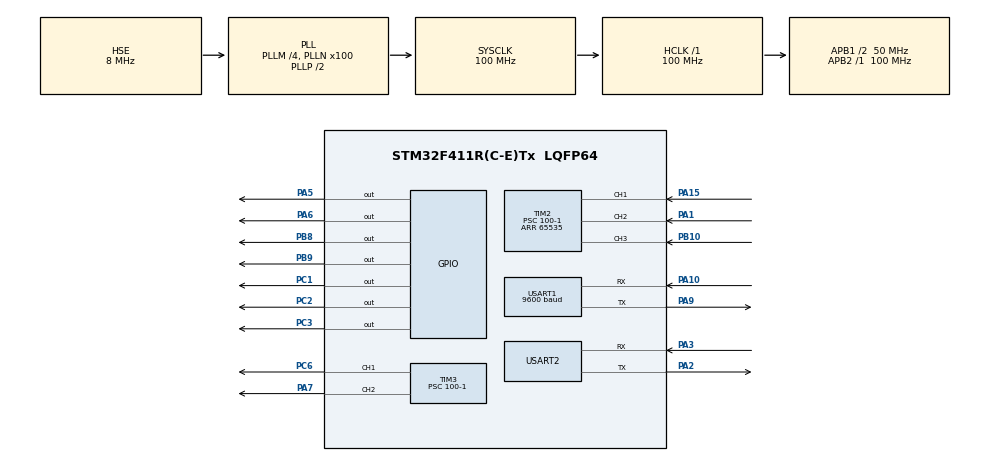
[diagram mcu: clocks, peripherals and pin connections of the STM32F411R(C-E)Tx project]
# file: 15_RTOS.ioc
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FREERTOS.Queues01=xUltrasonicQueue,16,uint16_t,0,Dynamic,NULL,NULL
FREERTOS.Tasks01=LED_TASK_1,24,128,LED_TASK_01,Default,NULL,Dynamic,NULL,NULL;ultrasonicTask,24,128,UltrasonicTask,Default,NULL,Dynamic,NULL,NULL;mainMoveTask,40,128,MainMoveTask,Default,NULL,Dynamic,NULL,NULL;controlTask,41,128,ControlTask,Default,NULL,Dynamic,NULL,NULL
FREERTOS.configUSE_NEWLIB_REENTRANT=1
Mcu.Family=STM32F4
Mcu.Name=STM32F411R(C-E)Tx
Mcu.Package=LQFP64
NVIC.PriorityGroup=NVIC_PRIORITYGROUP_4
NVIC.TIM1_UP_TIM10_IRQn=true\:15\:0\:false\:false\:true\:false\:false\:true\:true
NVIC.TIM2_IRQn=true\:5\:0\:false\:false\:true\:true\:true\:true\:true
NVIC.TimeBase=TIM1_UP_TIM10_IRQn
NVIC.TimeBaseIP=TIM10
NVIC.USART1_IRQn=true\:5\:0\:false\:false\:true\:true\:true\:true\:true
NVIC.USART2_IRQn=true\:5\:0\:false\:false\:true\:true\:true\:true\:true
PA1.Signal=S_TIM2_CH2
PA10.Mode=Asynchronous
PA10.Signal=USART1_RX
PA13.Mode=Serial_Wire
PA13.Signal=SYS_JTMS-SWDIO
PA14.Mode=Serial_Wire
PA14.Signal=SYS_JTCK-SWCLK
PA15.Signal=S_TIM2_CH1_ETR
PA2.Mode=Asynchronous
PA2.Signal=USART2_TX
PA3.Mode=Asynchronous
PA3.Signal=USART2_RX
PA5.Signal=GPIO_Output
PA6.Signal=GPIO_Output
PA7.Signal=S_TIM3_CH2
PA9.Mode=Asynchronous
PA9.Signal=USART1_TX
PB10.Signal=S_TIM2_CH3
PB8.Signal=GPIO_Output
PB9.Signal=GPIO_Output
PC1.Signal=GPIO_Output
PC2.Signal=GPIO_Output
PC3.Signal=GPIO_Output
PC6.Signal=S_TIM3_CH1
PH0\ -\ OSC_IN.Mode=HSE-External-Oscillator
PH0\ -\ OSC_IN.Signal=RCC_OSC_IN
PH1\ -\ OSC_OUT.Mode=HSE-External-Oscillator
PH1\ -\ OSC_OUT.Signal=RCC_OSC_OUT
ProjectManager.HeapSize=0x200
ProjectManager.StackSize=0x400
ProjectManager.TargetToolchain=STM32CubeIDE
RCC.48MHZClocksFreq_Value=50000000
RCC.AHBFreq_Value=100000000
RCC.APB1CLKDivider=RCC_HCLK_DIV2
RCC.APB1Freq_Value=50000000
RCC.APB1TimFreq_Value=100000000
RCC.APB2Freq_Value=100000000
RCC.APB2TimFreq_Value=100000000
RCC.CortexFreq_Value=100000000
RCC.HCLKFreq_Value=100000000
RCC.HSE_VALUE=8000000
RCC.HSI_VALUE=16000000
RCC.LSE_VALUE=32768
RCC.PLLM=4
RCC.PLLN=100
RCC.PLLSourceVirtual=RCC_PLLSOURCE_HSE
RCC.SYSCLKFreq_VALUE=100000000
RCC.SYSCLKSource=RCC_SYSCLKSOURCE_PLLCLK
RCC.VCOOutputFreq_Value=200000000
SH.S_TIM2_CH1_ETR.0=TIM2_CH1,Input_Capture1_from_TI1
SH.S_TIM2_CH2.0=TIM2_CH2,Input_Capture2_from_TI2
SH.S_TIM2_CH3.0=TIM2_CH3,Input_Capture3_from_TI3
SH.S_TIM3_CH1.0=TIM3_CH1,PWM Generation1 CH1
SH.S_TIM3_CH2.0=TIM3_CH2,PWM Generation2 CH2
TIM2.Channel-Input_Capture1_from_TI1=TIM_CHANNEL_1
TIM2.Channel-Input_Capture2_from_TI2=TIM_CHANNEL_2
TIM2.Channel-Input_Capture3_from_TI3=TIM_CHANNEL_3
TIM2.Period=65535
TIM2.Prescaler=100-1
TIM3.Channel-PWM\ Generation1\ CH1=TIM_CHANNEL_1
TIM3.Channel-PWM\ Generation2\ CH2=TIM_CHANNEL_2
TIM3.Period=1000-1
TIM3.Prescaler=100-1
USART1.BaudRate=9600
USART1.VirtualMode=VM_ASYNC
USART2.VirtualMode=VM_ASYNC
VP_FREERTOS_VS_CMSIS_V2.Mode=CMSIS_V2
VP_SYS_VS_tim10.Mode=TIM10
VP_TIM11_VS_ClockSourceINT.Mode=Enable_Timer
VP_TIM2_VS_ClockSourceINT.Mode=Internal
VP_TIM3_VS_ClockSourceINT.Mode=Internal
board=custom

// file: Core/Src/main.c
/* USER CODE BEGIN Header */
/**
  ******************************************************************************
  * @file           : main.c
  * @brief          : Main program body
  ******************************************************************************
  * @attention
  *
  * Copyright (c) 2025 STMicroelectronics.
  * All rights reserved.
  *
  * This software is licensed under terms that can be found in the LICENSE file
  * in the root directory of this software component.
  * If no LICENSE file comes with this software, it is provided AS-IS.
  *
  ******************************************************************************
  */
/* USER CODE END Header */
#include "main.h"
#include "cmsis_os.h"
#include "tim.h"
#include "usart.h"
#include "gpio.h"

/* USER CODE BEGIN Includes */
#include "delay_us.h"
#include "queue.h"      // 추가

/* USER CODE END Includes */

/* USER CODE BEGIN PV */

GPIO_TypeDef * pGpioA = NULL;
GPIO_TypeDef * pGpioB = NULL;
GPIO_TypeDef * pGpioC = NULL;

uint8_t rxData;

/* USER CODE END PV */

void SystemClock_Config(void);
void MX_FREERTOS_Init(void);
/* USER CODE BEGIN PFP */

void HAL_UART_RxCpltCallback(UART_HandleTypeDef *huart)
{
  extern QueueHandle_t uartRxQueue;

  if (huart->Instance == USART2) {
    xQueueSendFromISR(uartRxQueue, &rxData, NULL); // 큐에 문자 저장
    HAL_UART_Receive_IT(&huart2, &rxData, 1);      // 다음 문자 수신 준비
  }
  else if (huart->Instance == USART1) {
	xQueueSendFromISR(uartRxQueue, &rxData, NULL); // 큐에 문자 저장
    HAL_UART_Receive_IT(&huart1, &rxData, 1);      // 다음 문자 수신 준비
  }
}

/* USER CODE END PFP */

int main(void)
{

  /* MCU Configuration--------------------------------------------------------*/

  /* Reset of all peripherals, Initializes the Flash interface and the Systick. */
  HAL_Init();

  /* Configure the system clock */
  SystemClock_Config();

  /* Initialize all configured peripherals */
  MX_GPIO_Init();
  MX_USART2_UART_Init();
  MX_TIM3_Init();
  MX_USART1_UART_Init();
  MX_TIM2_Init();
  MX_TIM11_Init();
  /* USER CODE BEGIN 2 */

  HAL_TIM_PWM_Start(&htim3, TIM_CHANNEL_1);
  HAL_TIM_PWM_Start(&htim3, TIM_CHANNEL_2);

  HAL_TIM_Base_Start(&htim11); // us timer

  HAL_TIM_IC_Start_IT(&htim2, TIM_CHANNEL_1); // for ultrasonic timer
  HAL_TIM_IC_Start_IT(&htim2, TIM_CHANNEL_2); // for ultrasonic timer
  HAL_TIM_IC_Start_IT(&htim2, TIM_CHANNEL_3); // for ultrasonic timer

  HAL_UART_Receive_IT(&huart2, &rxData, 1);
  HAL_UART_Receive_IT(&huart1, &rxData, 1);

  pGpioA = GPIOA;
  pGpioB = GPIOB;
  pGpioC = GPIOC;

  /* USER CODE END 2 */

  /* Init scheduler */
  osKernelInitialize();

  /* Call init function for freertos objects (in cmsis_os2.c) */
  MX_FREERTOS_Init();

  /* Start scheduler */
  osKernelStart();

  /* We should never get here as control is now taken by the scheduler */

  /* Infinite loop */
  while (1)
  {

  }
}

void SystemClock_Config(void)
{
  RCC_OscInitTypeDef RCC_OscInitStruct = {0};
  RCC_ClkInitTypeDef RCC_ClkInitStruct = {0};

  /** Configure the main internal regulator output voltage
  */
  __HAL_RCC_PWR_CLK_ENABLE();
  __HAL_PWR_VOLTAGESCALING_CONFIG(PWR_REGULATOR_VOLTAGE_SCALE1);

  /** Initializes the RCC Oscillators according to the specified parameters
  * in the RCC_OscInitTypeDef structure.
  */
  RCC_OscInitStruct.OscillatorType = RCC_OSCILLATORTYPE_HSE;
  RCC_OscInitStruct.HSEState = RCC_HSE_ON;
  RCC_OscInitStruct.PLL.PLLState = RCC_PLL_ON;
  RCC_OscInitStruct.PLL.PLLSource = RCC_PLLSOURCE_HSE;
  RCC_OscInitStruct.PLL.PLLM = 4;
  RCC_OscInitStruct.PLL.PLLN = 100;
  RCC_OscInitStruct.PLL.PLLP = RCC_PLLP_DIV2;
  RCC_OscInitStruct.PLL.PLLQ = 4;
  if (HAL_RCC_OscConfig(&RCC_OscInitStruct) != HAL_OK)
  {
    Error_Handler();
  }

  /** Initializes the CPU, AHB and APB buses clocks
  */
  RCC_ClkInitStruct.ClockType = RCC_CLOCKTYPE_HCLK|RCC_CLOCKTYPE_SYSCLK
                              |RCC_CLOCKTYPE_PCLK1|RCC_CLOCKTYPE_PCLK2;
  RCC_ClkInitStruct.SYSCLKSource = RCC_SYSCLKSOURCE_PLLCLK;
  RCC_ClkInitStruct.AHBCLKDivider = RCC_SYSCLK_DIV1;
  RCC_ClkInitStruct.APB1CLKDivider = RCC_HCLK_DIV2;
  RCC_ClkInitStruct.APB2CLKDivider = RCC_HCLK_DIV1;

  if (HAL_RCC_ClockConfig(&RCC_ClkInitStruct, FLASH_LATENCY_3) != HAL_OK)
  {
    Error_Handler();
  }
}

void HAL_TIM_PeriodElapsedCallback(TIM_HandleTypeDef *htim)
{
  if (htim->Instance == TIM10)
  {
    HAL_IncTick();
  }
}

void Error_Handler(void)
{
  __disable_irq();
  while (1)
  {
  }
}

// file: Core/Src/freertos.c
/* USER CODE BEGIN Header */
/**
 ******************************************************************************
 * File Name          : freertos.c
 * Description        : Code for freertos applications
 ******************************************************************************
 * @attention
 *
 * Copyright (c) 2025 STMicroelectronics.
 * All rights reserved.
 *
 * This software is licensed under terms that can be found in the LICENSE file
 * in the root directory of this software component.
 * If no LICENSE file comes with this software, it is provided AS-IS.
 *
 ******************************************************************************
 */
/* USER CODE END Header */

#include "FreeRTOS.h"
#include "task.h"
#include "main.h"
#include "cmsis_os.h"

/* USER CODE BEGIN Includes */
#include "delay_us.h"
#include "queue.h"      // 추가
#include "usart.h"      // 추가: huart2 선언 포함
#include "tim.h"        // 추가: htim3 선언 포함
#include "ultrasonic.h"
#include "motor.h"
/* USER CODE END Includes */

/* USER CODE BEGIN Variables */

QueueHandle_t uartRxQueue;

/* USER CODE END Variables */
/* Definitions for LED_TASK_1 */
osThreadId_t LED_TASK_1Handle;
const osThreadAttr_t LED_TASK_1_attributes = {
		.name = "LED_TASK_1",
		.stack_size = 128 * 4,
		.priority = (osPriority_t) osPriorityNormal,
};
/* Definitions for ultrasonicTask */
osThreadId_t ultrasonicTaskHandle;
const osThreadAttr_t ultrasonicTask_attributes = {
		.name = "ultrasonicTask",
		.stack_size = 128 * 4,
		.priority = (osPriority_t) osPriorityNormal,
};
/* Definitions for mainMoveTask */
osThreadId_t mainMoveTaskHandle;
const osThreadAttr_t mainMoveTask_attributes = {
		.name = "mainMoveTask",
		.stack_size = 128 * 4,
		.priority = (osPriority_t) osPriorityHigh,
};
/* Definitions for controlTask */
osThreadId_t controlTaskHandle;
const osThreadAttr_t controlTask_attributes = {
		.name = "controlTask",
		.stack_size = 128 * 4,
		.priority = (osPriority_t) osPriorityHigh1,
};
/* Definitions for xUltrasonicQueue */
osMessageQueueId_t xUltrasonicQueueHandle;
const osMessageQueueAttr_t xUltrasonicQueue_attributes = {
		.name = "xUltrasonicQueue"
};

/* USER CODE BEGIN FunctionPrototypes */

void HAL_TIM_IC_CaptureCallback(TIM_HandleTypeDef *htim)
{
	bool isNotify = HCSR04_TIM_IC_CaptureCallback(htim); // 기존 코드 주석 처리 또는 삭제

	// 초음파 센서 타이머 캡처 인터럽트 발생 시 ultrasonicTask에 알림 전송
	BaseType_t xHigherPriorityTaskWoken = pdFALSE;
	if (ultrasonicTaskHandle != NULL && isNotify) {
		vTaskNotifyGiveFromISR(ultrasonicTaskHandle, &xHigherPriorityTaskWoken);
		portYIELD_FROM_ISR(xHigherPriorityTaskWoken);
	}
}

/* USER CODE END FunctionPrototypes */

void LED_TASK_01(void *argument);
void UltrasonicTask(void *argument);
void MainMoveTask(void *argument);
void ControlTask(void *argument);

void MX_FREERTOS_Init(void); /* (MISRA C 2004 rule 8.1) */

void MX_FREERTOS_Init(void) {
	/* USER CODE BEGIN Init */

	uartRxQueue = xQueueCreate(32, sizeof(uint8_t)); // 32바이트 큐 생성

	/* USER CODE END Init */

	/* Create the queue(s) */
	/* creation of xUltrasonicQueue */
	xUltrasonicQueueHandle = osMessageQueueNew (10, sizeof(SensorData_t), &xUltrasonicQueue_attributes);

	/* Create the thread(s) */
	/* creation of LED_TASK_1 */
	LED_TASK_1Handle = osThreadNew(LED_TASK_01, NULL, &LED_TASK_1_attributes);

	/* creation of ultrasonicTask */
	ultrasonicTaskHandle = osThreadNew(UltrasonicTask, NULL, &ultrasonicTask_attributes);

	/* creation of mainMoveTask */
	mainMoveTaskHandle = osThreadNew(MainMoveTask, NULL, &mainMoveTask_attributes);

	/* creation of controlTask */
	controlTaskHandle = osThreadNew(ControlTask, NULL, &controlTask_attributes);

}

void LED_TASK_01(void *argument)
{
	/* USER CODE BEGIN LED_TASK_01 */
	/* Infinite loop */
	for(;;)
	{
		//    HAL_GPIO_WritePin(GPIOA, GPIO_PIN_5, GPIO_PIN_SET);
		//    osDelay(1000);
		//    HAL_GPIO_WritePin(GPIOA, GPIO_PIN_5, GPIO_PIN_RESET);
		//    osDelay(1000);

		osDelay(1000);
	}
	/* USER CODE END LED_TASK_01 */
}

void UltrasonicTask(void *argument)
{
	/* USER CODE BEGIN UltrasonicTask */
	/* Infinite loop */
	for(;;)
	{
		// 초음파 트리거 신호 발생
		HCSR04_trgger_center();
		// 캡처 완료 알림 대기 (최대 100ms)
		ulTaskNotifyTake(pdTRUE, pdMS_TO_TICKS(100));

		HCSR04_trgger_right();
		ulTaskNotifyTake(pdTRUE, pdMS_TO_TICKS(100));

		HCSR04_trgger_left();
		ulTaskNotifyTake(pdTRUE, pdMS_TO_TICKS(100));

		{// 여기서 3개 Data 일괄적으로 던짐....
			extern volatile uint8_t distance_Center;
			extern volatile uint8_t distance_Right;
			extern volatile uint8_t distance_Left;

			SensorData_t sensorData;
			sensorData.distance_Center = distance_Center;
			sensorData.distance_Right = distance_Right;
			sensorData.distance_Left = distance_Left;
			xQueueSend(xUltrasonicQueueHandle, &sensorData, portMAX_DELAY);
		}

		osDelay(10);

		//vTaskDelayUntil(&xLastWakeTime, pdMS_TO_TICKS(50));
	}
	/* USER CODE END UltrasonicTask */
}

void MainMoveTask(void *argument)
{
	/* USER CODE BEGIN MainMoveTask */
	uint8_t rxChar;

	/* Infinite loop */
	for(;;)
	{
		if (xQueueReceive(uartRxQueue, &rxChar, portMAX_DELAY) == pdPASS) {
			// rxChar에 수신된 문자 있음
			// 원하는 처리 수행
			MotorControl(rxChar);
		}

		osDelay(10);
	}
	/* USER CODE END MainMoveTask */
}

static ControlCommand_t DecideDirection(uint8_t dist_left, uint8_t dist_center, uint8_t dist_right) {
    ControlCommand_t cmd = {STEER_NONE, SPEED_NORMAL, BRAKE_NONE};

    if (dist_center < SAFE_DISTANCE) {
        // 전방 장애물: 정지 및 비상 브레이크
        cmd.speed = SPEED_STOP;
        cmd.brake = BRAKE_EMERGENCY;
    } else if (dist_left < SAFE_LEFT_DISTANCE && dist_right >= SAFE_RIGHT_DISTANCE) {
        // 좌측 장애물: 우회전
        cmd.steering = STEER_RIGHT;
        cmd.speed = SPEED_SLOW;
    } else if (dist_right < SAFE_RIGHT_DISTANCE && dist_left >= SAFE_LEFT_DISTANCE) {
        // 우측 장애물: 좌회전
        cmd.steering = STEER_LEFT;
        cmd.speed = SPEED_SLOW;
    } else if (dist_center < WARNING_DISTANCE) {
        // 전방 경고 거리 이내: 감속
        cmd.speed = SPEED_SLOW;
    } else {
        // 모든 방향 안전: 직진
        cmd.steering = STEER_NONE;
        cmd.speed = SPEED_NORMAL;
    }

    return cmd;
}

SensorData_t g_sensor_data;
ControlCommand_t g_control_cmd;

void ControlTask(void *argument)
{
	/* USER CODE BEGIN ControlTask */
	SensorData_t sensor_data;
	ControlCommand_t control_cmd;

	const uint8_t max_cnt = 6;
	SensorData_t save_sensor_data[max_cnt];
	uint8_t cur_cnt = 0;

	SensorData_t mdify_sensor_data;

	/* Infinite loop */
	for(;;)
	{
		// xUltrasonicQueueHandle에서 초음파 값 수신 (최대 10ms 대기)
		if (osMessageQueueGet(xUltrasonicQueueHandle, &sensor_data, NULL, 10) == osOK) {

			// debuging
			g_sensor_data = sensor_data;
			save_sensor_data[cur_cnt].distance_Center = sensor_data.distance_Center;
			save_sensor_data[cur_cnt].distance_Left = sensor_data.distance_Left;
			save_sensor_data[cur_cnt].distance_Right = sensor_data.distance_Right;
			cur_cnt++; // next

			const bool isMotorMove = (cur_cnt >= max_cnt)? true:false;
			if (cur_cnt >= max_cnt){
				cur_cnt = 0;
			}

			if (isMotorMove){
				// 각 센서 데이터를 개별적으로 정렬하여 중간값 추출
				uint8_t center_values[max_cnt];
				uint8_t left_values[max_cnt];
				uint8_t right_values[max_cnt];

				// 센서 데이터를 개별 배열로 복사
				for (uint8_t idx = 0; idx < max_cnt; idx++) {
					center_values[idx] = save_sensor_data[idx].distance_Center;
					left_values[idx] = save_sensor_data[idx].distance_Left;
					right_values[idx] = save_sensor_data[idx].distance_Right;
				}

				// 각 센서 데이터 배열을 버블 정렬
				for (uint8_t i = 0; i < max_cnt - 1; i++) {
					for (uint8_t j = 0; j < max_cnt - i - 1; j++) {
						// Center 값 정렬
						if (center_values[j] > center_values[j + 1]) {
							uint8_t temp = center_values[j];
							center_values[j] = center_values[j + 1];
							center_values[j + 1] = temp;
						}

						// Left 값 정렬
						if (left_values[j] > left_values[j + 1]) {
							uint8_t temp = left_values[j];
							left_values[j] = left_values[j + 1];
							left_values[j + 1] = temp;
						}

						// Right 값 정렬
						if (right_values[j] > right_values[j + 1]) {
							uint8_t temp = right_values[j];
							right_values[j] = right_values[j + 1];
							right_values[j + 1] = temp;
						}
					}
				}

				// 정렬된 값들의 중간값(median) 사용
				mdify_sensor_data.distance_Center = center_values[max_cnt / 2];
				mdify_sensor_data.distance_Left = left_values[max_cnt / 2];
				mdify_sensor_data.distance_Right = right_values[max_cnt / 2];

				// 정렬된 중간값으로 제어 명령 결정
				control_cmd = DecideDirection(mdify_sensor_data.distance_Left,
											mdify_sensor_data.distance_Center,
											mdify_sensor_data.distance_Right);
			}

			g_control_cmd = control_cmd;

#if 1
			if(!AutoSteeringControl(control_cmd.steering)){
				if (!AutoBrakeControl(control_cmd.brake)){

					if (control_cmd.speed == SPEED_SLOW){
						if (sensor_data.distance_Left > sensor_data.distance_Right){
							AutoSteeringControl(STEER_LEFT);
						}else{
							AutoSteeringControl(STEER_RIGHT);
						}
					}else{
						AutoSpeedControl(control_cmd.speed);
					}

				}else{
					AutoMoveSlowBack();
					// 브레이크 상태에서 재자리 회전 실행

//					if (sensor_data.distance_Left > sensor_data.distance_Right){
//						AutoLeftBackControl();
//					}else{
//						AutoRightBackControl();
//					}

				}
			}
#endif
		}

		osDelay(10);
	}
	/* USER CODE END ControlTask */
}
